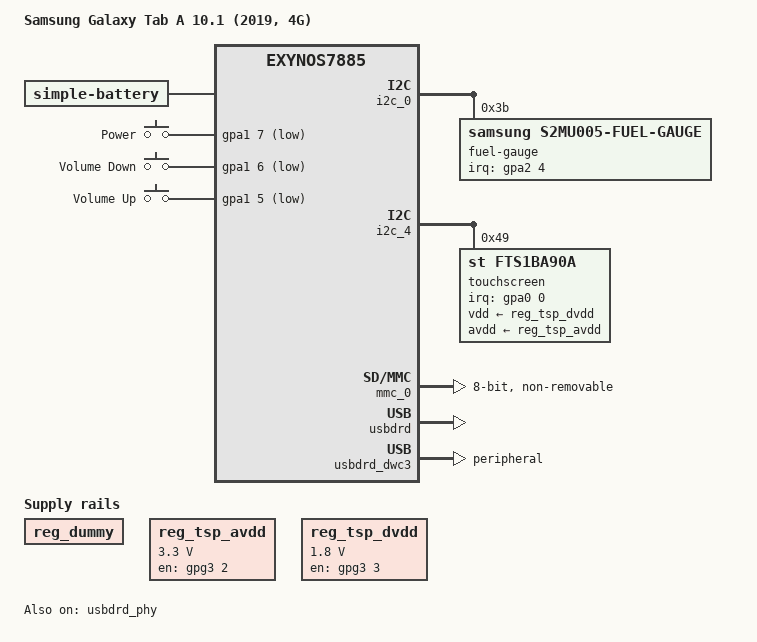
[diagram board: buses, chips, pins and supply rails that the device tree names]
// SPDX-License-Identifier: GPL-2.0
/*
 * Samsung Galaxy Tab A 10.1 (2019, 4G) (gta3xllte/SM-T515) device tree source
 *
 * Copyright (c) 2026, Umer Uddin <umer.uddin@mentallysanemainliners.org>
 */

/dts-v1/;
#include "exynos7885.dtsi"
#include <dt-bindings/gpio/gpio.h>
#include <dt-bindings/input/input.h>

/ {
	model = "Samsung Galaxy Tab A 10.1 (2019, 4G)";
	compatible = "samsung,gta3xllte", "samsung,exynos7885";
	chassis-type = "tablet";

	aliases {
		mmc0 = &mmc_0;
		serial0 = &serial_0;
		serial1 = &serial_1;
		serial2 = &serial_2;
	};

	battery: battery {
		compatible = "simple-battery";
		charge-full-design-microamp-hours = <6000000>;
		voltage-min-design-microvolt = <3300000>;
		voltage-max-design-microvolt = <4350000>;
	};

	chosen {
		ranges;
		#address-cells = <2>;
		#size-cells = <1>;

		framebuffer0: framebuffer@ec000000 {
			compatible = "simple-framebuffer";
			reg = <0 0xec000000 0x01400000>;
			width = <1200>;
			height = <1920>;
			stride = <(1200 * 4)>;
			format = "a8r8g8b8";
		};
	};

	gpio-keys {
		compatible = "gpio-keys";
		pinctrl-0 = <&key_volup &key_voldown &key_power>;
		pinctrl-names = "default";

		power-key {
			gpios = <&gpa1 7 GPIO_ACTIVE_LOW>;
			label = "Power";
			wakeup-source;
			linux,code = <KEY_POWER>;
		};

		voldown-key {
			gpios = <&gpa1 6 GPIO_ACTIVE_LOW>;
			label = "Volume Down";
			linux,code = <KEY_VOLUMEDOWN>;
		};

		volup-key {
			gpios = <&gpa1 5 GPIO_ACTIVE_LOW>;
			label = "Volume Up";
			linux,code = <KEY_VOLUMEUP>;
		};
	};

	memory@80000000 {
		device_type = "memory";
		reg = <0x0 0x80000000 0x3dd00000>,
		      <0x0 0xc0000000 0x40000000>;
	};

	/* TODO: Remove this once PMIC is implemented */
	reg_dummy: regulator-0 {
		compatible = "regulator-fixed";
		regulator-name = "dummy_reg";
	};

	reg_tsp_avdd: regulator-tsp-avdd {
		compatible = "regulator-fixed";
		regulator-name = "tsp_avdd";
		regulator-min-microvolt = <3300000>;
		regulator-max-microvolt = <3300000>;
		gpios = <&gpg3 2 GPIO_ACTIVE_HIGH>;
		enable-active-high;
		regulator-boot-on;
	};

	reg_tsp_dvdd: regulator-tsp-dvdd {
		compatible = "regulator-fixed";
		regulator-name = "tsp_dvdd";
		regulator-min-microvolt = <1800000>;
		regulator-max-microvolt = <1800000>;
		gpios = <&gpg3 3 GPIO_ACTIVE_HIGH>;
		enable-active-high;
		regulator-boot-on;
	};

	reserved-memory {
		ranges;
		#address-cells = <2>;
		#size-cells = <1>;

		cont_splash_mem: framebuffer@ec000000 {
			reg = <0 0xec000000 0x01400000>;
			no-map;
		};
	};
};

&i2c_0 {
	status = "okay";

	fuel-gauge@3b {
		compatible = "samsung,s2mu005-fuel-gauge";
		reg = <0x3b>;
		interrupt-parent = <&gpa2>;
		interrupts = <4 IRQ_TYPE_EDGE_BOTH>;
		pinctrl-0 = <&fuel_irq>;
		pinctrl-names = "default";
		monitored-battery = <&battery>;
	};
};

&i2c_4 {
	samsung,i2c-max-bus-freq = <400000>;
	samsung,i2c-sda-delay = <100>;

	status = "okay";

	touchscreen@49 {
		compatible = "st,fts1ba90a";
		reg = <0x49>;
		interrupt-parent = <&gpa0>;
		interrupts = <0 IRQ_TYPE_LEVEL_LOW>;
		pinctrl-0 = <&touch_irq>;
		pinctrl-names = "default";
		vdd-supply = <&reg_tsp_dvdd>;
		avdd-supply = <&reg_tsp_avdd>;
		touchscreen-size-x = <1200>;
		touchscreen-size-y = <1920>;
	};
};

&mmc_0 {
	bus-width = <8>;
	cap-mmc-highspeed;
	card-detect-delay = <200>;
	clock-frequency = <800000000>;
	mmc-hs200-1_8v;
	mmc-hs400-1_8v;
	mmc-hs400-enhanced-strobe;
	non-removable;
	pinctrl-0 = <&sd0_clk_fast_slew_rate_3x &sd0_cmd &sd0_rdqs
		     &sd0_bus1 &sd0_bus4 &sd0_bus8>;
	pinctrl-names = "default";

	samsung,dw-mshc-ciu-div = <3>;
	samsung,dw-mshc-ddr-timing = <2 4>;
	samsung,dw-mshc-hs400-timing = <0 2>;
	samsung,dw-mshc-sdr-timing = <0 4>;

	status = "okay";
};

&oscclk {
	clock-frequency = <26000000>;
};

&pinctrl_alive {
	fuel_irq: fuel-irq-pins {
		samsung,pins = "gpa2-4";
		samsung,pin-function = <EXYNOS_PIN_FUNC_EINT>;
		samsung,pin-pud = <EXYNOS_PIN_PULL_NONE>;
		samsung,pin-drv = <EXYNOS5420_PIN_DRV_LV1>;
	};

	key_power: key-power-pins {
		samsung,pins = "gpa1-7";
		samsung,pin-function = <EXYNOS_PIN_FUNC_F>;
		samsung,pin-pud = <EXYNOS_PIN_PULL_NONE>;
		samsung,pin-drv = <EXYNOS5420_PIN_DRV_LV1>;
	};

	key_voldown: key-voldown-pins {
		samsung,pins = "gpa1-6";
		samsung,pin-function = <EXYNOS_PIN_FUNC_F>;
		samsung,pin-pud = <EXYNOS_PIN_PULL_NONE>;
		samsung,pin-drv = <EXYNOS5420_PIN_DRV_LV1>;
	};

	key_volup: key-volup-pins {
		samsung,pins = "gpa1-5";
		samsung,pin-function = <EXYNOS_PIN_FUNC_F>;
		samsung,pin-pud = <EXYNOS_PIN_PULL_NONE>;
		samsung,pin-drv = <EXYNOS5420_PIN_DRV_LV1>;
	};

	touch_irq: touch-irq-pins {
		samsung,pins = "gpa0-0";
		samsung,pin-function = <EXYNOS_PIN_FUNC_EINT>;
		samsung,pin-pud = <EXYNOS_PIN_PULL_NONE>;
		samsung,pin-drv = <EXYNOS5420_PIN_DRV_LV1>;
	};
};

&usbdrd {
	vdd10-supply = <&reg_dummy>;
	vdd33-supply = <&reg_dummy>;

	status = "okay";
};

&usbdrd_dwc3 {
	/*
	 * SoC in theory supports SS but no known device (including this one)
	 * has it wired up.
	 */
	maximum-speed = "high-speed";

	/* Force to peripheral until we have Type-C working */
	dr_mode = "peripheral";
};

&usbdrd_phy {
	status = "okay";
};
